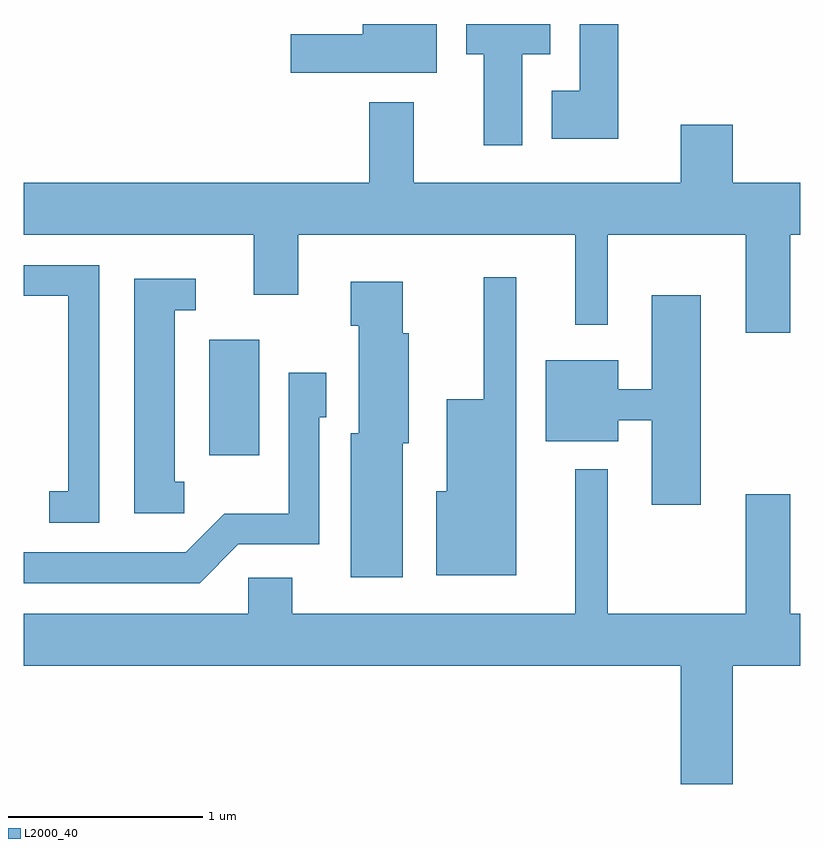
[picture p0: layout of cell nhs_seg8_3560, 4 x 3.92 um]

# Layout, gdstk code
import gdstk
lib = gdstk.Library(unit=1e-6, precision=1e-09)
def R(c, l, rs):  # rectangles x0, y0, x1, y1
    for r in rs: c.add(gdstk.rectangle(r[:2], r[2:], *l))
def P(c, l, *ps):  # polygons
    for p in ps: c.add(gdstk.Polygon(p, *l))
L2000_40 = (2000, 40)

nhs_seg8_3560 = lib.new_cell('nhs_seg8_3560')
R(nhs_seg8_3560, L2000_40, [(292.566,1884.121,292.824,1884.714)])
P(nhs_seg8_3560, L2000_40, [(294.179,1886.186),(294.324,1886.186),(294.324,1886.342),(293.891,1886.342),(293.891,1886.186),(293.981,1886.186),(293.981,1885.716),(294.179,1885.716)],
  [(294.674,1886.342),(294.476,1886.342),(294.476,1885.999),(294.331,1885.999),(294.331,1885.751),(294.674,1885.751)],
  [(293.739,1886.342),(293.356,1886.342),(293.356,1886.289),(292.986,1886.289),(292.986,1886.091),(293.739,1886.091)],
  [(295.559,1885.256),(295.611,1885.256),(295.611,1885.524),(295.264,1885.524),(295.264,1885.824),(294.996,1885.824),(294.996,1885.524),(293.619,1885.524),(293.619,1885.939),(293.391,1885.939),(293.391,1885.524),(291.611,1885.524),(291.611,1885.256),(292.796,1885.256),(292.796,1884.946),(293.024,1884.946),(293.024,1885.256),(294.451,1885.256),(294.451,1884.793),(294.619,1884.793),(294.619,1885.256),(295.331,1885.256),(295.331,1884.751),(295.559,1884.751)],
  [(291.999,1885.099),(291.611,1885.099),(291.611,1884.941),(291.841,1884.941),(291.841,1883.934),(291.743,1883.934),(291.743,1883.771),(291.999,1883.771)],
  [(294.149,1885.038),(293.981,1885.038),(293.981,1884.409),(293.791,1884.409),(293.791,1883.934),(293.736,1883.934),(293.736,1883.501),(294.149,1883.501)],
  [(292.438,1883.984),(292.389,1883.984),(292.389,1884.866),(292.498,1884.866),(292.498,1885.029),(292.181,1885.029),(292.181,1883.821),(292.438,1883.821)],
  [(293.564,1884.181),(293.594,1884.181),(293.594,1884.749),(293.564,1884.749),(293.564,1885.014),(293.296,1885.014),(293.296,1884.786),(293.336,1884.786),(293.336,1884.234),(293.296,1884.234),(293.296,1883.491),(293.564,1883.491)],
  [(295.099,1884.944),(294.846,1884.944),(294.846,1884.459),(294.674,1884.459),(294.674,1884.609),(294.301,1884.609),(294.301,1884.191),(294.674,1884.191),(294.674,1884.301),(294.846,1884.301),(294.846,1883.866),(295.099,1883.866)],
  [(292.717,1883.661),(293.134,1883.661),(293.134,1884.316),(293.169,1884.316),(293.169,1884.544),(292.976,1884.544),(292.976,1883.819),(292.644,1883.819),(292.444,1883.619),(291.611,1883.619),(291.611,1883.461),(292.517,1883.461)],
  [(295.264,1883.036),(295.611,1883.036),(295.611,1883.304),(295.559,1883.304),(295.559,1883.919),(295.331,1883.919),(295.331,1883.304),(294.619,1883.304),(294.619,1884.048),(294.451,1884.048),(294.451,1883.304),(292.994,1883.304),(292.994,1883.489),(292.766,1883.489),(292.766,1883.304),(291.611,1883.304),(291.611,1883.036),(294.996,1883.036),(294.996,1882.426),(295.264,1882.426)])

lib.write_gds('nhs_seg8_3560.gds')
